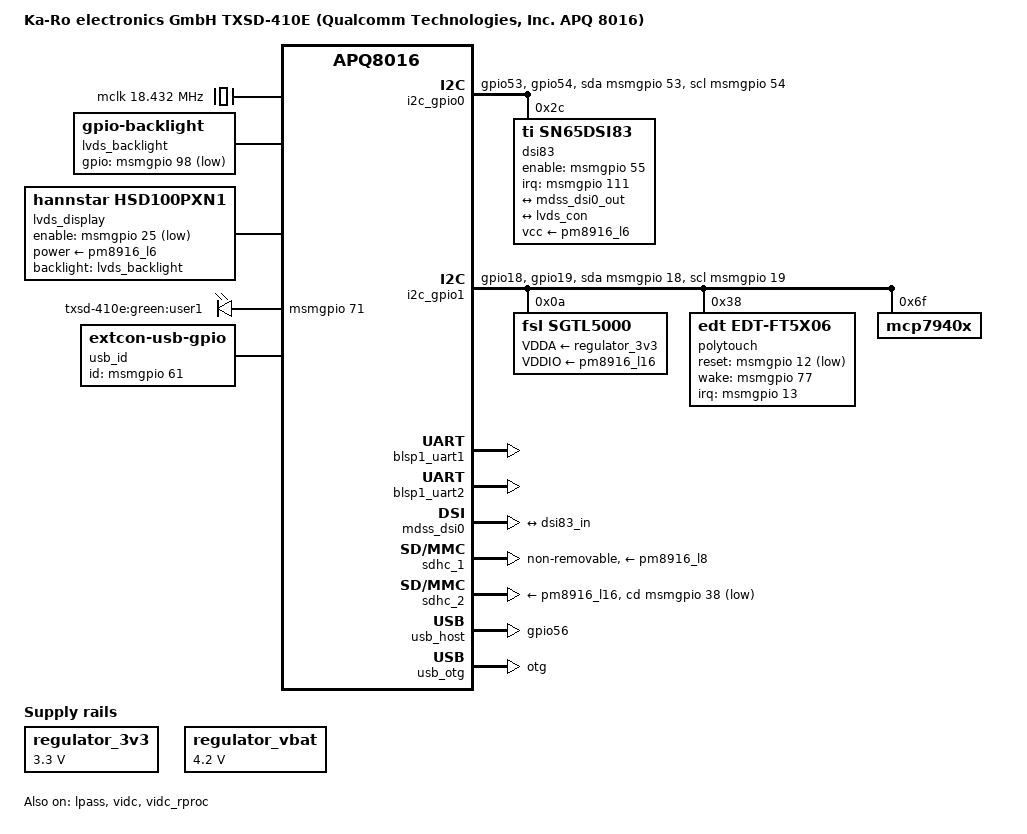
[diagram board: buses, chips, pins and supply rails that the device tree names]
/*
 * Copyright (C) 2016, Lothar Waßmann <LW@KARO-electronics.de>
 *
 * This file is dual-licensed: you can use it either under the terms
 * of the GPL or the X11 license, at your option. Note that this dual
 * licensing only applies to this file, and not this project as a
 * whole.
 *
 *  a) This file is free software; you can redistribute it and/or
 *     modify it under the terms of the GNU General Public License
 *     version 2 as published by the Free Software Foundation.
 *
 *     This file is distributed in the hope that it will be useful,
 *     but WITHOUT ANY WARRANTY; without even the implied warranty of
 *     MERCHANTABILITY or FITNESS FOR A PARTICULAR PURPOSE.  See the
 *     GNU General Public License for more details.
 *
 * Or, alternatively,
 *
 *  b) Permission is hereby granted, free of charge, to any person
 *     obtaining a copy of this software and associated documentation
 *     files (the "Software"), to deal in the Software without
 *     restriction, including without limitation the rights to use,
 *     copy, modify, merge, publish, distribute, sublicense, and/or
 *     sell copies of the Software, and to permit persons to whom the
 *     Software is furnished to do so, subject to the following
 *     conditions:
 *
 *     The above copyright notice and this permission notice shall be
 *     included in all copies or substantial portions of the Software.
 *
 *     THE SOFTWARE IS PROVIDED "AS IS", WITHOUT WARRANTY OF ANY KIND,
 *     EXPRESS OR IMPLIED, INCLUDING BUT NOT LIMITED TO THE WARRANTIES
 *     OF MERCHANTABILITY, FITNESS FOR A PARTICULAR PURPOSE AND
 *     NONINFRINGEMENT. IN NO EVENT SHALL THE AUTHORS OR COPYRIGHT
 *     HOLDERS BE LIABLE FOR ANY CLAIM, DAMAGES OR OTHER LIABILITY,
 *     WHETHER IN AN ACTION OF CONTRACT, TORT OR OTHERWISE, ARISING
 *     FROM, OUT OF OR IN CONNECTION WITH THE SOFTWARE OR THE USE OR
 *     OTHER DEALINGS IN THE SOFTWARE.
 */

/dts-v1/;

#define USE_I2C_GPIO

#include "msm8916.dtsi"
#include "pm8916.dtsi"
#include <dt-bindings/gpio/gpio.h>
#include <dt-bindings/pinctrl/qcom,pmic-gpio.h>
#include <dt-bindings/sound/apq8016-lpass.h>
#include "msm8916-mdss.dtsi"

/ {
	model = "Ka-Ro electronics GmbH TXSD-410E (Qualcomm Technologies, Inc. APQ 8016)";
	compatible = "karo,txsd-410e", "qcom,apq8016-sbc", "qcom,apq8016", "qcom,sbc";

	aliases {
		backlight = &lvds_backlight;
		display = &dsi83;
		i2c0 = &i2c_gpio0;
#ifdef USE_I2C_GPIO
		i2c1 = &i2c_gpio1;
#else
		i2c1 = &blsp_i2c5;
#endif
		serial0 = &blsp1_uart2;
		serial1 = &blsp1_uart1;
		spi0 = &blsp_spi3;
		touchpanel = &polytouch;
		usbdev = &usb_dev;
		usbhost = &usb_host;
		usbphy = &usb_otg;
		usid0 = &pm8916_0;
	};

	chosen {
		stdout-path = "serial0";
	};

	clocks {
		mclk: mclk {
			compatible = "fixed-clock";
			#clock-cells = <0>;
			//clock-frequency = <26000000>;
			clock-frequency = <18432000>;
		};
	};

	lvds_backlight: lvds-backlight {
		compatible = "gpio-backlight";
		pinctrl-names = "default";
		pinctrl-0 = <&backlight_pins>;
		gpios = <&msmgpio 98 GPIO_ACTIVE_LOW>;
		default-on;
	};

	lvds_display: lvds-panel {
		compatible = "hannstar,hsd100pxn1", "panel-simple";
		power-supply = <&pm8916_l6>;
		pinctrl-names = "default";
		pinctrl-0 = <&msmgpio_lvds_panel>;
		enable-gpios = <&msmgpio 25 GPIO_ACTIVE_LOW>;
		backlight = <&lvds_backlight>;
	};

	regulator_3v3: regulator-3v3 {
		compatible = "regulator-fixed";
		regulator-name = "3V3";
		regulator-min-microvolt = <3300000>;
		regulator-max-microvolt = <3300000>;
		regulator-always-on;
	};

	regulator_vbat: regulator-vbat {
		compatible = "regulator-fixed";
		regulator-name = "VBAT";
		regulator-min-microvolt = <4200000>;
		regulator-max-microvolt = <4200000>;
		regulator-always-on;
	};

	soc {
#ifndef USE_I2C_GPIO
		blsp_i2c5: i2c@78b9000 {
			compatible = "qcom,i2c-qup-v2.2.1";
			reg = <0x078b9000 0x1000>;
			pinctrl-names = "default", "sleep";
			pinctrl-0 = <&i2c5_default_pins>;
			pinctrl-1 = <&i2c5_sleep_pins>;
			interrupts = <GIC_SPI 99 IRQ_TYPE_LEVEL_HIGH>;
			clocks = <&gcc GCC_BLSP1_QUP5_I2C_APPS_CLK>,
				 <&gcc GCC_BLSP1_AHB_CLK>;
			clock-names = "core", "iface";
			#address-cells = <1>;
			#size-cells = <0>;
			clock-frequency = <400000>;
			status = "okay";
		};
#endif
		i2c_gpio0: i2c-gpio0 {
			compatible = "i2c-gpio";
			pinctrl-names = "default";
			pinctrl-0 = <&i2c0_pins>;
			#address-cells = <1>;
			#size-cells = <0>;
			gpios = <&msmgpio 53 GPIO_ACTIVE_HIGH>, /* SDA */
				<&msmgpio 54 GPIO_ACTIVE_HIGH>; /* CLK */
			i2c-gpio,delay-us = <1>;
		};
#ifdef USE_I2C_GPIO
		i2c_gpio1: i2c-gpio1 {
			compatible = "i2c-gpio";
			pinctrl-names = "default";
			pinctrl-0 = <&i2c1_pins>;
			#address-cells = <1>;
			#size-cells = <0>;
			gpios = <&msmgpio 18 GPIO_ACTIVE_HIGH>, /* SDA */
				<&msmgpio 19 GPIO_ACTIVE_HIGH>; /* CLK */
			i2c-gpio,delay-us = <0>;
		};
#endif
#if 0
		restart@4ab000 {
			status = "disabled";
		};
#endif
	};

	leds {
		compatible = "gpio-leds";
		pinctrl-names = "default";
		pinctrl-0 = <&msmgpio_leds>;

		led {
			label = "txsd-410e:green:user1";
			gpios = <&msmgpio 71 GPIO_ACTIVE_HIGH>;
			linux,default-trigger = "heartbeat";
			default-state = "off";
		};
	};

	sound {
		compatible = "karo,txsd-410e-sgtl5000",
			     "simple-audio-card";
		pinctrl-names = "default";
#ifndef USE_PRIMARY_I2S
		pinctrl-0 = <&ext_sec_tlmm_lines_act>;
#else
		pinctrl-0 = <&ext_pri_tlmm_lines_act &ext_pri_ws_act &ext_mclk_tlmm_lines_act>;
#endif
		simple-audio-card,name = "apq8016-txsd-410e-sgtl5000-audio";
		simple-audio-card,format = "dsp_b";
		simple-audio-card,bitclock-master = <&cpu_dai>;
		simple-audio-card,frame-master = <&cpu_dai>;
		simple-audio-card,widgets =
			"Microphone", "Mic Jack",
			"Line", "Line In",
			"Line", "Line Out",
			"Headphone", "Headphone Jack";
		simple-audio-card,routing =
			"MIC_IN", "Mic Jack",
			"Mic Jack", "Mic Bias",
			"Headphone Jack", "HP_OUT";

		cpu_dai: simple-audio-card,cpu {
#ifndef USE_PRIMARY_I2S
			sound-dai = <&lpass MI2S_QUATERNARY>;
#else
			sound-dai = <&lpass MI2S_PRIMARY>;
#endif
		};

		codec_dai: simple-audio-card,codec {
			sound-dai = <&sgtl5000>;
		};
	};

	lvds: lvds-out {
		port {
			lvds_con: endpoint {
				remote-endpoint = <&dsi83_out>;
			};
		};
	};

	usb_id: usb-id {
		compatible = "linux,extcon-usb-gpio";
		interrupt-parent = <&msmgpio>;
		id-gpio = <&msmgpio 61 GPIO_ACTIVE_HIGH>;
		pinctrl-names = "default";
		pinctrl-0 = <&usb_id_pins>;
	};
};

&blsp_dma {
	/* BAM-DMA hangs the system, so keep it disabled for now */
	status = "disabled";
};

&blsp_spi3 {
	num-cs = <3>;
	cs-gpios = <&msmgpio 10 GPIO_ACTIVE_LOW>,
		   <&msmgpio 120 GPIO_ACTIVE_LOW>,
		   <&msmgpio 69 GPIO_ACTIVE_LOW>;
	status = "disabled";

	/* due to disabled BAM DMA the driver would always return EPROBE_DEFER otherwise */
	/delete-property/ dmas;
	/delete-property/ dma-names;

	spidev0: spi@0 {
		compatible = "spidev";
		reg = <0>;
		spi-max-frequency = <54000000>;
	};

	spidev1: spi@1 {
		compatible = "spidev";
		reg = <1>;
		spi-max-frequency = <54000000>;
	};

	spidev2: spi@2 {
		compatible = "spidev";
		reg = <2>;
		spi-max-frequency = <54000000>;
	};
};

&blsp1_uart1 {
	label = "LS-UART0";
	pinctrl-names = "default", "sleep";
	pinctrl-0 = <&blsp1_uart1_default>;
	pinctrl-1 = <&blsp1_uart1_sleep>;
	status = "okay";
};

&blsp1_uart2 {
	label = "LS-UART1";
	pinctrl-names = "default", "sleep";
	pinctrl-0 = <&blsp1_uart2_default>;
	pinctrl-1 = <&blsp1_uart2_sleep>;
	u-boot,dm-pre-reloc;
	status = "okay";
};

&i2c_gpio0 {
	dsi83: sn65dsi83@2c {
		compatible = "ti,sn65dsi83";
		reg = <0x2c>;
		pinctrl-names = "default";
		pinctrl-0 = <&msmgpio_dsi83 &dsi83_pins>;
		vcc-supply = <&pm8916_l6>;
		enable-gpios = <&msmgpio 55 GPIO_ACTIVE_HIGH>;
		interrupts-extended = <&msmgpio 111 IRQ_TYPE_LEVEL_HIGH>;
		data-equalization = <0>;
		clock-equalization = <0>;
		lvds-data-mapping = "spwg"; /* default for LVDS->LCD converter on MB7 */
		lvds-data-width = <18>; /* default for LVDS->LCD converter on MB7 */
		panel = <&lvds_display>;

		ports {
			#address-cells = <1>;
			#size-cells = <0>;

			port@0 {
				reg = <0>;

				dsi83_in: endpoint {
					remote-endpoint = <&mdss_dsi0_out>;
				};
			};

			port@1 {
				reg = <1>;

				dsi83_out: endpoint {
					remote-endpoint = <&lvds_con>;
				};
			};
		};

		display-timings {
			native-mode = <&lcd_timing5>;

			lvds_timing0: hsd100pxn1 {
				lvds-data-mapping = "spwg";
				lvds-data-width = <18>;
				clock-frequency = <65000000>;
				hactive = <1024>;
				vactive = <768>;
				hback-porch = <220>;
				hfront-porch = <40>;
				vback-porch = <21>;
				vfront-porch = <7>;
				hsync-len = <60>;
				vsync-len = <10>;
				de-active = <1>;
				pixelclk-active = <1>;
			};

			lvds_timing1: nl12880bc20 {
				lvds-data-mapping = "jeida";
				lvds-data-width = <24>;
				clock-frequency = <71000000>;
				hactive = <1280>;
				vactive = <800>;
				hback-porch = <50>;
				hsync-len = <60>;
				hfront-porch = <50>;
				vback-porch = <5>;
				vsync-len = <13>;
				vfront-porch = <5>;
				hsync-active = <0>;
				vsync-active = <0>;
				de-active = <1>;
				pixelclk-active = <1>;
			};

			lvds_timing2: ETML101001DKA {
				lvds-data-mapping = "jeida";
				lvds-data-width = <24>;
				/* same as nl12880bc20 */
				clock-frequency = <71000000>;
				hactive = <1280>;
				vactive = <800>;
				hback-porch = <50>;
				hsync-len = <60>;
				hfront-porch = <50>;
				vback-porch = <5>;
				vsync-len = <13>;
				vfront-porch = <5>;
				hsync-active = <0>;
				vsync-active = <0>;
				de-active = <1>;
				pixelclk-active = <1>;
			};

			lcd_timing0: VGA {
				clock-frequency = <25200000>;
				hactive = <640>;
				vactive = <480>;
				hback-porch = <48>;
				hsync-len = <96>;
				hfront-porch = <16>;
				vback-porch = <31>;
				vsync-len = <2>;
				vfront-porch = <12>;
				hsync-active = <0>;
				vsync-active = <0>;
				de-active = <1>;
				pixelclk-active = <0>;
			};

			lcd_timing1: ETV570 {
				clock-frequency = <25200000>;
				hactive = <640>;
				vactive = <480>;
				hback-porch = <114>;
				hsync-len = <30>;
				hfront-porch = <16>;
				vback-porch = <32>;
				vsync-len = <3>;
				vfront-porch = <10>;
				hsync-active = <0>;
				vsync-active = <0>;
				de-active = <1>;
				pixelclk-active = <0>;
			};

			lcd_timing2: ET0350 {
				clock-frequency = <6413760>;
				hactive = <320>;
				vactive = <240>;
				hback-porch = <34>;
				hsync-len = <34>;
				hfront-porch = <20>;
				vback-porch = <15>;
				vsync-len = <3>;
				vfront-porch = <4>;
				hsync-active = <0>;
				vsync-active = <0>;
				de-active = <1>;
				pixelclk-active = <0>;
			};

			lcd_timing3: ET0430 {
				clock-frequency = <9009000>;
				hactive = <480>;
				vactive = <272>;
				hback-porch = <2>;
				hsync-len = <41>;
				hfront-porch = <2>;
				vback-porch = <2>;
				vsync-len = <10>;
				vfront-porch = <2>;
				hsync-active = <0>;
				vsync-active = <0>;
				de-active = <1>;
				pixelclk-active = <1>;
			};

			lcd_timing4: ET0500 {
				clock-frequency = <33264000>;
				hactive = <800>;
				vactive = <480>;
				hback-porch = <88>;
				hsync-len = <128>;
				hfront-porch = <40>;
				vback-porch = <33>;
				vsync-len = <2>;
				vfront-porch = <10>;
				hsync-active = <0>;
				vsync-active = <0>;
				de-active = <1>;
				pixelclk-active = <0>;
			};

			lcd_timing5: ET0700 { /* same as ET0500 */
				clock-frequency = <33264000>;
				hactive = <800>;
				vactive = <480>;
				hback-porch = <88>;
				hsync-len = <128>;
				hfront-porch = <40>;
				vback-porch = <33>;
				vsync-len = <2>;
				vfront-porch = <10>;
				hsync-active = <0>;
				vsync-active = <0>;
				de-active = <1>;
				pixelclk-active = <0>;
			};

			lcd_timing6: ETQ570 {
				clock-frequency = <6596040>;
				hactive = <320>;
				vactive = <240>;
				hback-porch = <38>;
				hsync-len = <30>;
				hfront-porch = <30>;
				vback-porch = <16>;
				vsync-len = <3>;
				vfront-porch = <4>;
				hsync-active = <0>;
				vsync-active = <0>;
				de-active = <1>;
				pixelclk-active = <0>;
			};
		};
	};
};

#ifdef USE_I2C_GPIO
&i2c_gpio1 {
#else
&blsp_i2c5 {
#endif
	sgtl5000: codec@0a {
		compatible = "fsl,sgtl5000";
		reg = <0x0a>;
		#sound-dai-cells = <0>;
		VDDA-supply = <&regulator_3v3>;
		VDDIO-supply = <&pm8916_l16>;
		clocks = <&mclk>;
		status = "okay";
	};

	polytouch: polytouch@38 {
		compatible = "edt,edt-ft5x06";
		reg = <0x38>;
		pinctrl-names = "default";
		pinctrl-0 = <&edt_ft5x06_pins>;
		interrupts-extended = <&msmgpio 13 IRQ_TYPE_EDGE_FALLING>;
		reset-gpios = <&msmgpio 12 GPIO_ACTIVE_LOW>;
		wake-gpios = <&msmgpio 77 GPIO_ACTIVE_HIGH>;
		wakeup-source;
		status = "okay";
	};

	mcp7940x: rtc@0x6f {
		compatible = "mcp7940x";
		reg = <0x6f>;
	};
};

&lpass {
	status = "okay";
};

&mdss_dsi0 {
	vdda-supply = <&pm8916_l2>;
	vddio-supply = <&pm8916_l6>;
	status = "okay";

	port {
		mdss_dsi0_out: endpoint {
			remote-endpoint = <&dsi83_in>;
			data-lanes = <0 1 2 3>;
		};
	};
};

&msmgpio {
	msmgpio_dsi83: msmgpio-dsi83 {
		pinmux {
			pins = "gpio111";
			function = "gpio";
		};

		pinconf {
			pins = "gpio111";
			function = "gpio";
			input-enable;
			bias-pull-down;
		};
	};

	msmgpio_leds: msmgpio-leds {
		pinmux {
			pins = "gpio71";
			function = "gpio";
		};

		pinconf {
			pins = "gpio71";
			function = "gpio";
			output-low;
		};
	};

	msmgpio_lvds_panel: msmgpio-lvds-panel {
		pinmux {
			pins = "gpio25";
			function = "gpio";
		};

		pinconf {
			pins = "gpio25";
			function = "gpio";
			output-high;
		};
	};

	backlight_pins: backlight-pins {
		pinmux {
			pins = "gpio98";
			function = "gpio";
		};

		pinconf {
			pins = "gpio98";
			function = "gpio";
			output-high;
		};
	};

	dsi83_pins: dsi83-pins {
		pinmux {
			pins = "gpio55";
			function = "gpio";
		};

		pinconf {
			pins = "gpio55";
			output-high;
		};
	};

	edt_ft5x06_pins: polytouch-pins {
		pinmux {
			pins = "gpio12", "gpio13", "gpio77";
			function = "gpio";
		};

		pinconf {
			pins = "gpio12", "gpio13", "gpio77";
			drive-strength = <8>;
			bias-pull-up;
		};
	};

	i2c0_pins: i2c0-pins {
		pinmux {
			pins = "gpio53", "gpio54";
			function = "gpio";
		};

		pinconf {
			pins = "gpio53", "gpio54";
			drive-strength = <16>;
			bias-pull-up;
		};
	};

#ifndef USE_I2C_GPIO
	i2c5_default_pins: i2c5-default-pins {
		pinmux {
			pins = "gpio18", "gpio19";
			function = "blsp_i2c5";
		};

		pinconf {
			pins = "gpio18", "gpio19";
			drive-strength = <16>;
			bias-disable;
		};
	};
#else
	i2c1_pins: i2c1-pins {
		pinmux {
			pins = "gpio18", "gpio19";
			function = "gpio";
		};

		pinconf {
			pins = "gpio18", "gpio19";
			drive-strength = <16>;
			bias-pull-up;
		};
	};
#endif
	i2c5_sleep_pins: i2c5-sleep-pins {
		pinmux {
			pins = "gpio18", "gpio19";
			function = "gpio";
		};

		pinconf {
			pins = "gpio18", "gpio19";
			drive-strength = <2>;
			bias-disable;
		};
	};

	usb_id_pins: usb-id-pins {
		pinmux {
			pins = "gpio61";
			function = "gpio";
		};

		pinconf {
			pins = "gpio61";
			drive-strength = <8>;
			input-enable;
			bias-pull-up;
		};
	};

	usb_vbus_pins: usb-vbus-pins {
		pinmux {
			pins = "gpio56";
			function = "gpio";
		};

		pinconf {
			pins = "gpio56";
			drive-strength = <8>;
			input-enable;
			bias-pull-up;
		};
	};
};

&pm8916_0 {
	spmi_reset: reset@0800 {
		compatible = "qcom,spmi-reset";
		reg = <0x800 0x100>;
		status = "disabled";
	};
};

&pm8916_mpps {
	pm8916_mpp_leds: pm8916-mpp-leds {
		pinconf {
			pins = "mpp2", "mpp3";
			function = "digital";
			power-source = <PM8916_GPIO_VPH>;
			output-low;
		};
	};
};

&pm8916_spmi_s2 {
	regulator-always-on;
};

&sdhc_1 {
	/* eMMC */
	vmmc-supply = <&pm8916_l8>;
	vqmmc-supply = <&pm8916_l5>;

	pinctrl-names = "default", "sleep";
	pinctrl-0 = <&sdc1_clk_on &sdc1_cmd_on &sdc1_data_on>;
	pinctrl-1 = <&sdc1_clk_off &sdc1_cmd_off &sdc1_data_off>;
	non-removable;
	status = "okay";
};

&sdhc_2 {
	/* SD card slot on baseboard */
	vmmc-supply = <&pm8916_l16>;
	/* alternatively, depending on ST16 setting:
	vmmc-supply = <&pm8916_l11>;
	*/

	pinctrl-names = "default", "sleep";
	pinctrl-0 = <&sdc2_clk_on &sdc2_cmd_on &sdc2_data_on &sdc2_cd_on>;
	pinctrl-1 = <&sdc2_clk_off &sdc2_cmd_off &sdc2_data_off &sdc2_cd_off>;
	cd-gpios = <&msmgpio 38 GPIO_ACTIVE_LOW>;
	status = "okay";
};

&smd_rpm_regulators {
	vdd_l1_l2_l3-supply = <&pm8916_s3>;
	vdd_l5-supply = <&pm8916_s3>;
	vdd_l4_l5_l6-supply = <&pm8916_s4>;
	vdd_l7-supply = <&pm8916_s4>;
	vdd_l8-l18-supply = <&regulator_vbat>;

	s1 {
		regulator-min-microvolt = <375000>;
		regulator-max-microvolt = <1562000>;
	};

	s3 {
		regulator-min-microvolt = <375000>;
		regulator-max-microvolt = <1562000>;
	};

	s4 {
		regulator-min-microvolt = <1800000>;
		regulator-max-microvolt = <1800000>;

		regulator-always-on;
		regulator-boot-on;
	};

	l1 {
		regulator-min-microvolt = <375000>;
		regulator-max-microvolt = <1525000>;
	};

	l2 {
		regulator-min-microvolt = <375000>;
		regulator-max-microvolt = <1525000>;
	};

	l3 {
		regulator-min-microvolt = <375000>;
		regulator-max-microvolt = <1525000>;
	};

	l4 {
		regulator-min-microvolt = <1750000>;
		regulator-max-microvolt = <3337000>;
	};

	l5 {
		regulator-min-microvolt = <1750000>;
		regulator-max-microvolt = <3337000>;
	};

	l6 {
		regulator-min-microvolt = <1750000>;
		regulator-max-microvolt = <3337000>;
	};

	l7 {
		regulator-min-microvolt = <1750000>;
		regulator-max-microvolt = <3337000>;
	};

	l8 {
		regulator-min-microvolt = <1750000>;
		regulator-max-microvolt = <3337000>;
	};

	l9 {
		regulator-min-microvolt = <1750000>;
		regulator-max-microvolt = <3337000>;
	};

	l10 {
		regulator-min-microvolt = <1750000>;
		regulator-max-microvolt = <3337000>;
	};

	l11 {
		regulator-min-microvolt = <1750000>;
		regulator-max-microvolt = <3337000>;
	};

	l12 {
		regulator-min-microvolt = <1750000>;
		regulator-max-microvolt = <3337000>;
	};

	l13 {
		regulator-min-microvolt = <1750000>;
		regulator-max-microvolt = <3337000>;
	};

	l14 {
		regulator-min-microvolt = <1750000>;
		regulator-max-microvolt = <3337000>;
	};

	l15 {
		regulator-min-microvolt = <1750000>;
		regulator-max-microvolt = <3337000>;
		regulator-always-on;
	};

	l16 {
		regulator-min-microvolt = <1750000>;
		regulator-max-microvolt = <3337000>;
	};

	l17 {
		regulator-min-microvolt = <1750000>;
		regulator-max-microvolt = <3337000>;
	};

	l18 {
		regulator-min-microvolt = <1750000>;
		regulator-max-microvolt = <3337000>;
	};
};

&spi3_default {
	pinmux {
		function = "blsp_spi3";
		pins = "gpio8", "gpio9", "gpio11";
	};

	pinmux_cs {
		function = "gpio";
		pins = "gpio10", "gpio120", "gpio69";
	};

	pinconf {
		pins = "gpio8", "gpio9", "gpio11";
		drive-strength = <12>;
		bias-disable;
	};

	pinconf_cs {
		pins = "gpio10", "gpio120", "gpio69";
		drive-strength = <2>;
		bias-disable;
		output-high;
	};
};

&spi3_sleep {
	pinmux {
		function = "gpio";
		pins = "gpio8", "gpio9", "gpio10", "gpio11", "gpio120", "gpio69";
	};

	pinconf {
		pins = "gpio8", "gpio9", "gpio10", "gpio11", "gpio120", "gpio69";
		drive-strength = <2>;
		bias-pull-down;
	};
};

&usb_dev {
	extcon = <&usb_id>, <&usb_id>;
	status = "disabled";
};

&usb_host {
	pinctrl-names = "default";
	pinctrl-0 = <&usb_vbus_pins>;
	switch-gpio = <&msmgpio 56 GPIO_ACTIVE_HIGH>;
	status = "okay";
};

&usb_otg {
	compatible = "qcom,usb-8x16-phy";
	//vddcx-supply = <&pm8916_s1>;
	extcon = <&usb_id>, <&usb_id>;
	dr_mode = "otg";
	status = "okay";
};

&vidc {
	status = "okay";
};

&vidc_rproc {
	status = "okay";
};
